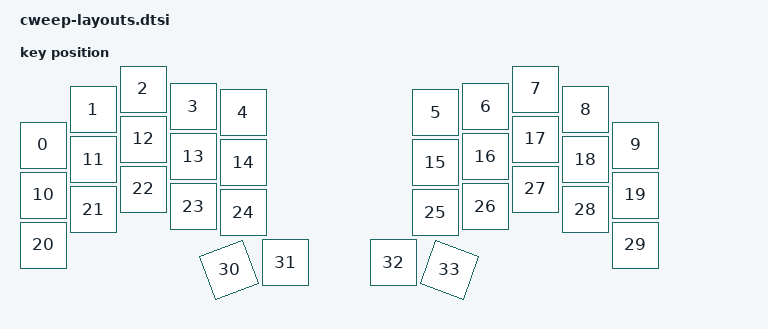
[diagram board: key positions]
#include <physical_layouts.dtsi>

/ {
    physical_layout_cweep: physical_layout_cweep {
        compatible = "zmk,physical-layout";
        display-name = "cweep";
        keys  //                     w   h    x    y     rot    rx    ry
            = <&key_physical_attrs 100 100    0  112       0     0     0>
            , <&key_physical_attrs 100 100  100   41       0     0     0>
            , <&key_physical_attrs 100 100  200    0       0     0     0>
            , <&key_physical_attrs 100 100  300   35       0     0     0>
            , <&key_physical_attrs 100 100  400   47       0     0     0>
            , <&key_physical_attrs 100 100  785   47       0     0     0>
            , <&key_physical_attrs 100 100  885   35       0     0     0>
            , <&key_physical_attrs 100 100  985    0       0     0     0>
            , <&key_physical_attrs 100 100 1085   41       0     0     0>
            , <&key_physical_attrs 100 100 1185  112       0     0     0>
            , <&key_physical_attrs 100 100    0  212       0     0     0>
            , <&key_physical_attrs 100 100  100  141       0     0     0>
            , <&key_physical_attrs 100 100  200  100       0     0     0>
            , <&key_physical_attrs 100 100  300  135       0     0     0>
            , <&key_physical_attrs 100 100  400  147       0     0     0>
            , <&key_physical_attrs 100 100  785  147       0     0     0>
            , <&key_physical_attrs 100 100  885  135       0     0     0>
            , <&key_physical_attrs 100 100  985  100       0     0     0>
            , <&key_physical_attrs 100 100 1085  141       0     0     0>
            , <&key_physical_attrs 100 100 1185  212       0     0     0>
            , <&key_physical_attrs 100 100    0  312       0     0     0>
            , <&key_physical_attrs 100 100  100  241       0     0     0>
            , <&key_physical_attrs 100 100  200  200       0     0     0>
            , <&key_physical_attrs 100 100  300  235       0     0     0>
            , <&key_physical_attrs 100 100  400  247       0     0     0>
            , <&key_physical_attrs 100 100  785  247       0     0     0>
            , <&key_physical_attrs 100 100  885  235       0     0     0>
            , <&key_physical_attrs 100 100  985  200       0     0     0>
            , <&key_physical_attrs 100 100 1085  241       0     0     0>
            , <&key_physical_attrs 100 100 1185  312       0     0     0>
            , <&key_physical_attrs 100 100  372  362 (-2000)   422   412>
            , <&key_physical_attrs 100 100  485  347       0     0     0>
            , <&key_physical_attrs 100 100  700  347       0     0     0>
            , <&key_physical_attrs 100 100  813  362    2000   863   412>
            ;
    };
};
